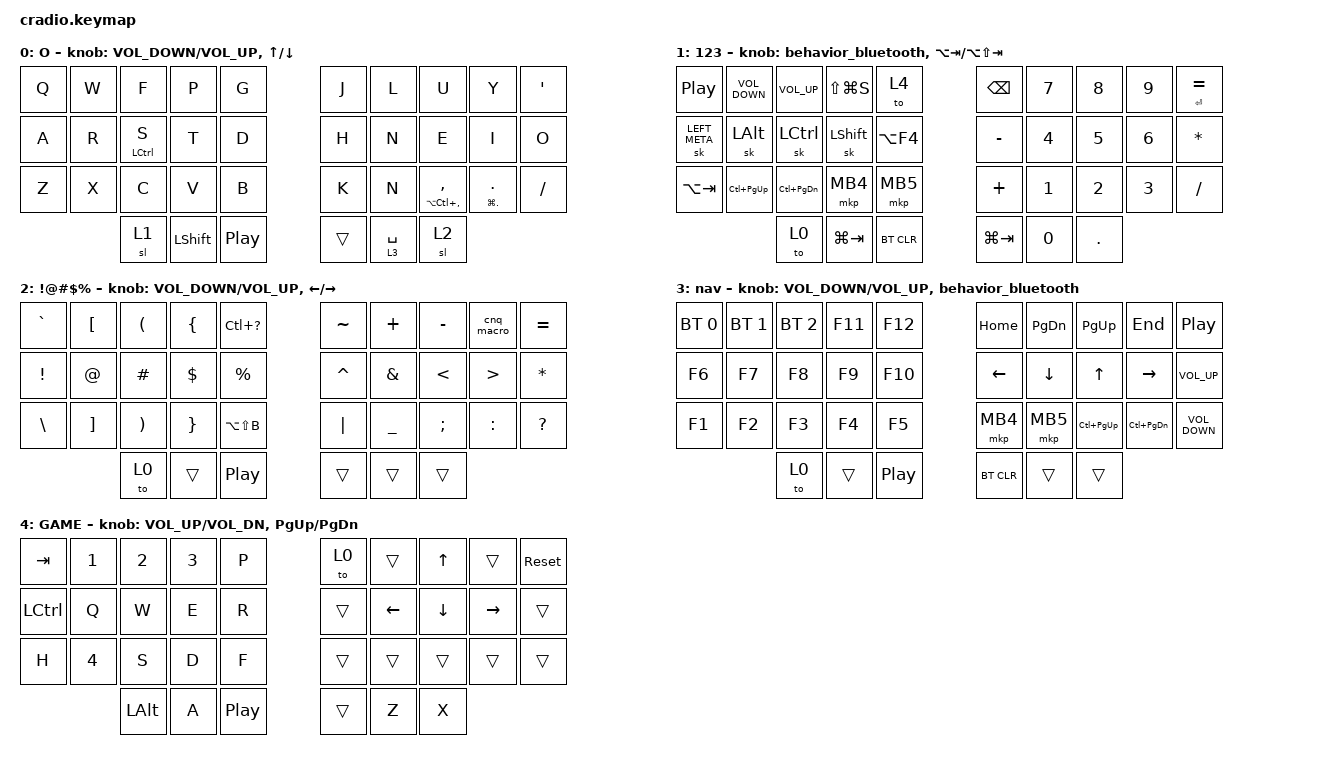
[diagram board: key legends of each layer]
// Copyright (c) 2022 The ZMK Contributors
// SPDX-License-Identifier: MIT

#include <behaviors.dtsi>
#include <dt-bindings/zmk/mouse.h>
#include <dt-bindings/zmk/bt.h>
#include <dt-bindings/zmk/keys.h>

&mt {
    //  flavor = "tap-preferred";
    // tapping_term_ms = <200>;

    flavor = "balanced";
    tapping-term-ms = <170>;
};

&sk {
    release-after-ms = <1500>;
    quick-release;

    // ignore-modifiers;
};

&sl { release-after-ms = <1500>; };

/ {
    combos {
        compatible = "zmk,combos";

        combo_esc {
            timeout-ms = <50>;
            key-positions = <1 2>;
            bindings = <&kp ESC>;
            layers = <0 1 2 3>;
        };

        combo_tab {
            timeout-ms = <50>;
            key-positions = <23 24>;
            bindings = <&kp TAB>;
        };

        combo_return {
            timeout-ms = <50>;
            key-positions = <29 30>;
            bindings = <&kp RETURN>;
            layers = <0 1 2 3>;
        };

        combo_manager {
            timeout-ms = <50>;
            key-positions = <0 2>;
            bindings = <&kp LS(LC(ESCAPE))>;
        };

        combo_cnq {
            timeout-ms = <50>;
            key-positions = <7 9>;
            bindings = <&cnq_macro>;
        };

        combo_toggle1 {
            bindings = <&tog 1>;
            key-positions = <32 33>;
        };

        combo_toggle3 {
            bindings = <&tog 3>;
            key-positions = <34 35>;
        };

        combo_backspace {
            bindings = <&kp BACKSPACE>;
            key-positions = <7 8>;
            timeout-ms = <50>;
        };

        combo_delete {
            bindings = <&kp DELETE>;
            key-positions = <15 14>;
            timeout-ms = <50>;
        };
    };

    macros {
        cnq_macro: cnq_macro {
            compatible = "zmk,behavior-macro";
            #binding-cells = <0>;
            bindings = <&kp GRAVE &kp LBKT &kp GRAVE &kp RIGHT_BRACKET &kp LEFT_ARROW &kp LEFT_ARROW &kp DOWN_ARROW &kp DOWN_ARROW &kp ENTER>;
            label = "CNQ_MACRO";
        };
    };

    behaviors {
        holdtap_comma: holdtap_comma {
            compatible = "zmk,behavior-hold-tap";
            label = "HOLDTAP_COMMA";
            bindings = <&kp>, <&kp>;

            #binding-cells = <2>;
            tapping-term-ms = <200>;
            hold-trigger-key-positions = <29>;
            flavor = "hold-preferred";
        };

        holdtap_period: holdtap_period {
            compatible = "zmk,behavior-hold-tap";
            label = "HOLDTAP_PERIOD";
            bindings = <&kp>, <&kp>;

            #binding-cells = <2>;
            tapping-term-ms = <200>;
            hold-trigger-key-positions = <30>;
        };

        holdtap_equal_enter: holdtap_equal_enter {
            compatible = "zmk,behavior-hold-tap";
            label = "HOLDTAP_EQUAL_ENTER";
            bindings = <&kp>, <&kp>;

            #binding-cells = <2>;
            tapping-term-ms = <200>;
            hold-trigger-key-positions = <21>;
        };

        behavior_bluetooth: behavior_bluetooth {
            compatible = "zmk,behavior-sensor-rotate";
            label = "BEHAVIOR_BLUETOOTH";
            #sensor-binding-cells = <0>;
            bindings = <&bt BT_PRV>, <&bt BT_NXT>;
        };
    };

    keymap {
        compatible = "zmk,keymap";
        
        default_layer {
            display-name = "O";
            bindings = <
            &kp Q      &kp W      &kp F      &kp P      &kp G          &kp J      &kp L      &kp U      &kp Y      &kp SQT
            &kp A      &kp R  &mt LEFT_CONTROL S  &kp T  &kp D         &kp H      &kp N      &kp E      &kp I      &kp O
            &kp Z      &kp X      &kp C      &kp V      &kp B          &kp K      &kp N  &holdtap_comma LA(LC(COMMA)) COMMA  &holdtap_period LG(PERIOD) PERIOD  &kp FSLH
                                &sl 1   &kp LEFT_SHIFT  &kp C_PLAY_PAUSE  &trans  &lt 3 SPACE  &sl 2
            >;
            sensor-bindings = <&inc_dec_kp C_VOLUME_DOWN C_VOLUME_UP &inc_dec_kp UP DOWN>;
        };

        left_layer {
            display-name = "123";
            bindings = <
            &kp C_PLAY_PAUSE  &kp C_VOLUME_DOWN  &kp C_VOLUME_UP  &kp LS(LG(S))  &to 4  &kp BACKSPACE  &kp NUMBER_7  &kp NUMBER_8  &kp NUMBER_9  &holdtap_equal_enter ENTER EQUAL
            &sk LEFT_META  &sk LEFT_ALT  &sk LEFT_CONTROL  &sk LEFT_SHIFT  &kp LA(F4)  &kp MINUS  &kp NUMBER_4  &kp NUMBER_5  &kp NUMBER_6  &kp ASTERISK
            &kp LA(TAB)  &kp LC(PAGE_UP)  &kp LC(PAGE_DOWN)  &mkp MB4  &mkp MB5  &kp PLUS       &kp NUMBER_1  &kp NUMBER_2  &kp NUMBER_3  &kp FSLH
                                    &to 0   &kp LG(TAB)  &bt BT_CLR    &kp LG(TAB)  &kp NUMBER_0  &kp DOT
            >;
            sensor-bindings = <&behavior_bluetooth &inc_dec_kp LA(TAB) LA(LS(TAB))>;
        };

        right_layer {
            display-name = "!@#$%";
            bindings = <
            &kp GRAVE  &kp LEFT_BRACKET  &kp LEFT_PARENTHESIS  &kp LEFT_BRACE  &kp LC(QUESTION)  &kp TILDE  &kp PLUS  &kp MINUS  &cnq_macro  &kp EQUAL
            &kp EXCLAMATION  &kp AT_SIGN  &kp HASH  &kp DOLLAR  &kp PERCENT  &kp CARET  &kp AMPERSAND  &kp LESS_THAN  &kp GREATER_THAN  &kp ASTERISK
            &kp BACKSLASH  &kp RIGHT_BRACKET  &kp RIGHT_PARENTHESIS  &kp RIGHT_BRACE  &kp LA(LS(B))  &kp PIPE  &kp UNDERSCORE  &kp SEMICOLON  &kp COLON  &kp QUESTION
                                    &to 0    &trans   &kp C_PLAY_PAUSE    &trans     &trans     &trans
            >;
            sensor-bindings = <&inc_dec_kp C_VOLUME_DOWN C_VOLUME_UP &inc_dec_kp LEFT RIGHT>;
        };

        nav_layer {
            display-name = "nav";
            bindings = <
            &bt BT_SEL 0  &bt BT_SEL 1  &bt BT_SEL 2  &kp F11  &kp F12  &kp HOME  &kp PAGE_DOWN  &kp PAGE_UP  &kp END  &kp C_PLAY_PAUSE
                &kp F6     &kp F7     &kp F8     &kp F9     &kp F10       &kp LEFT   &kp DOWN   &kp UP    &kp RIGHT  &kp C_VOLUME_UP
                &kp F1     &kp F2     &kp F3     &kp F4     &kp F5        &mkp MB4   &mkp MB5  &kp LC(PAGE_UP)  &kp LC(PAGE_DOWN)  &kp C_VOLUME_DOWN
                                    &to 0  &trans  &kp C_PLAY_PAUSE    &bt BT_CLR  &trans     &trans
            >;
            sensor-bindings =
                <&inc_dec_kp C_VOLUME_DOWN C_VOLUME_UP &behavior_bluetooth>;
        };

        gaming_layer {
            display-name = "GAME";
            bindings = <
            &kp TAB           &kp NUMBER_1  &kp NUMBER_2  &kp NUMBER_3  &kp P               &to 0   &trans    &kp UP    &trans     &sys_reset
            &kp LEFT_CONTROL  &kp Q         &kp W         &kp E         &kp R               &trans  &kp LEFT  &kp DOWN  &kp RIGHT  &trans
            &kp H             &kp NUMBER_4  &kp S         &kp D         &kp F               &trans  &trans    &trans    &trans     &trans
                                            &kp LEFT_ALT  &kp A         &kp C_PLAY_PAUSE    &trans  &kp Z     &kp X
            >;
            sensor-bindings = <&inc_dec_kp C_VOL_UP C_VOL_DN &inc_dec_kp PG_UP PG_DN>;
        };
    };
};
